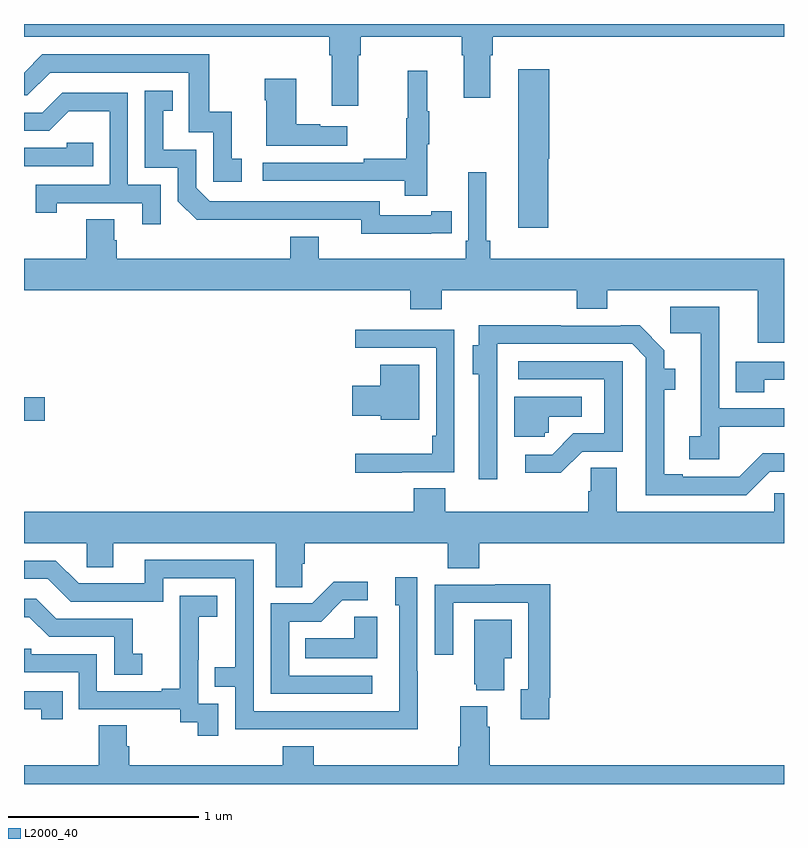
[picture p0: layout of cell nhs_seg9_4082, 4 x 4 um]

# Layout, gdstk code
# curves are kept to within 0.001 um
import gdstk
lib = gdstk.Library(unit=1e-6, precision=1e-09)
def R(c, l, rs):  # rectangles x0, y0, x1, y1
    for r in rs: c.add(gdstk.rectangle(r[:2], r[2:], *l))
def P(c, l, *ps):  # polygons
    for p in ps: c.add(gdstk.Polygon(p, *l))
L2000_40 = (2000, 40)

nhs_seg9_4082 = lib.new_cell('nhs_seg9_4082')
R(nhs_seg9_4082, L2000_40, [(345,1182.413,345.109,1182.535)])
P(nhs_seg9_4082, L2000_40, [(346.759,1184.336),(346.772,1184.336),(346.772,1184.432),(347.303,1184.432),(347.303,1184.336),(347.315,1184.336),(347.315,1184.112),(347.455,1184.112),(347.455,1184.336),(347.468,1184.336),(347.468,1184.432),(349,1184.432),(349,1184.5),(345,1184.5),(345,1184.432),(346.607,1184.432),(346.607,1184.336),(346.619,1184.336),(346.619,1184.07),(346.759,1184.07)],
  [(346.147,1183.791),(346.094,1183.791),(346.094,1184.038),(345.976,1184.038),(345.976,1184.34),(345.096,1184.34),(345,1184.244),(345,1184.124),(345.018,1184.124),(345.138,1184.244),(345.867,1184.244),(345.867,1183.929),(345.996,1183.929),(345.996,1183.671),(346.147,1183.671)],
  [(347.759,1183.791),(347.764,1183.791),(347.764,1184.263),(347.6,1184.263),(347.6,1183.428),(347.759,1183.428)],
  [(347.123,1183.867),(347.134,1183.867),(347.134,1184.041),(347.123,1184.041),(347.123,1184.254),(347.02,1184.254),(347.02,1184.004),(347.013,1184.004),(347.013,1183.79),(346.789,1183.79),(346.789,1183.77),(346.257,1183.77),(346.257,1183.674),(347.005,1183.674),(347.005,1183.596),(347.123,1183.596)],
  [(346.702,1183.963),(346.559,1183.963),(346.559,1183.973),(346.432,1183.973),(346.432,1184.212),(346.267,1184.212),(346.267,1184.099),(346.274,1184.099),(346.274,1183.859),(346.702,1183.859)],
  [(347.144,1183.398),(347.252,1183.398),(347.252,1183.514),(347.144,1183.514),(347.144,1183.494),(346.872,1183.494),(346.872,1183.566),(345.978,1183.566),(345.906,1183.638),(345.906,1183.839),(345.733,1183.839),(345.733,1184.043),(345.782,1184.043),(345.782,1184.149),(345.636,1184.149),(345.636,1183.743),(345.81,1183.743),(345.81,1183.566),(345.908,1183.469),(346.776,1183.47),(346.776,1183.397)],
  [(345.72,1183.653),(345.546,1183.653),(345.546,1184.139),(345.2,1184.139),(345.095,1184.034),(345,1184.034),(345,1183.938),(345.132,1183.938),(345.236,1184.042),(345.45,1184.042),(345.45,1183.653),(345.061,1183.653),(345.061,1183.506),(345.172,1183.506),(345.172,1183.557),(345.623,1183.557),(345.623,1183.446),(345.72,1183.446)],
  [(345.365,1183.875),(345.225,1183.875),(345.225,1183.848),(345,1183.848),(345,1183.752),(345.365,1183.752)],
  [(347.453,1183.36),(347.434,1183.36),(347.434,1183.72),(347.337,1183.72),(347.337,1183.36),(347.324,1183.36),(347.324,1183.264),(346.552,1183.264),(346.552,1183.381),(346.4,1183.381),(346.4,1183.264),(345.488,1183.264),(345.488,1183.362),(345.475,1183.362),(345.475,1183.472),(345.328,1183.472),(345.328,1183.264),(345,1183.264),(345,1183.1),(347.033,1183.1),(347.033,1182.998),(347.198,1182.998),(347.198,1183.1),(347.909,1183.1),(347.909,1183.001),(348.069,1183.001),(348.069,1183.1),(348.863,1183.1),(348.863,1182.822),(349,1182.822),(349,1183.264),(347.453,1183.264)],
  [(348.66,1182.38),(349,1182.38),(349,1182.477),(348.66,1182.477),(348.66,1183.012),(348.402,1183.012),(348.402,1182.873),(348.563,1182.873),(348.563,1182.33),(348.501,1182.33),(348.501,1182.21),(348.66,1182.21)],
  [(348.924,1182.144),(349,1182.144),(349,1182.241),(348.888,1182.241),(348.764,1182.117),(348.466,1182.117),(348.466,1182.13),(348.37,1182.13),(348.37,1182.576),(348.427,1182.576),(348.427,1182.686),(348.371,1182.686),(348.371,1182.784),(348.241,1182.914),(348.14,1182.914),(348.14,1182.912),(347.825,1182.912),(347.825,1182.914),(347.394,1182.914),(347.394,1182.808),(347.363,1182.808),(347.363,1182.656),(347.394,1182.656),(347.394,1182.105),(347.49,1182.105),(347.49,1182.816),(348.201,1182.816),(348.273,1182.744),(348.273,1182.021),(348.801,1182.021)],
  [(346.987,1182.141),(347.265,1182.141),(347.265,1182.891),(346.743,1182.891),(346.743,1182.795),(347.169,1182.795),(347.169,1182.334),(347.149,1182.334),(347.149,1182.238),(346.743,1182.238),(346.743,1182.137),(346.987,1182.137)],
  [(347.937,1182.249),(348.15,1182.249),(348.15,1182.726),(347.601,1182.726),(347.601,1182.63),(348.054,1182.63),(348.054,1182.345),(347.892,1182.345),(347.781,1182.234),(347.637,1182.234),(347.637,1182.137),(347.824,1182.137)],
  [(348.897,1182.627),(349,1182.627),(349,1182.723),(348.745,1182.723),(348.745,1182.562),(348.897,1182.562)],
  [(347.08,1182.706),(346.874,1182.706),(346.874,1182.595),(346.728,1182.595),(346.728,1182.437),(346.878,1182.437),(346.878,1182.416),(347.08,1182.416)],
  [(347.742,1182.348),(347.763,1182.348),(347.763,1182.434),(347.935,1182.434),(347.935,1182.538),(347.579,1182.538),(347.579,1182.327),(347.742,1182.327)],
  [(346.464,1181.659),(346.478,1181.659),(346.478,1181.768),(347.231,1181.768),(347.231,1181.635),(347.396,1181.635),(347.396,1181.768),(349,1181.768),(349,1182.03),(348.948,1182.03),(348.948,1181.932),(348.121,1181.932),(348.121,1182.164),(347.982,1182.164),(347.982,1182.041),(347.969,1182.041),(347.969,1181.932),(347.216,1181.932),(347.216,1182.056),(347.051,1182.056),(347.051,1181.932),(345,1181.932),(345,1181.768),(345.33,1181.768),(345.33,1181.641),(345.469,1181.641),(345.469,1181.768),(346.325,1181.768),(346.325,1181.536),(346.464,1181.536)],
  [(347.073,1181.093),(347.07,1181.093),(347.07,1181.587),(346.955,1181.587),(346.955,1181.442),(346.974,1181.442),(346.974,1180.884),(346.209,1180.884),(346.209,1181.679),(345.635,1181.679),(345.635,1181.556),(345.288,1181.556),(345.168,1181.676),(345,1181.676),(345,1181.58),(345.126,1181.58),(345.246,1181.46),(345.732,1181.46),(345.732,1181.583),(346.113,1181.583),(346.113,1181.114),(346.003,1181.114),(346.003,1181.013),(346.113,1181.013),(346.113,1180.788),(347.073,1180.787)],
  [(346.834,1181.07),(346.395,1181.07),(346.395,1181.355),(346.564,1181.355),(346.675,1181.466),(346.81,1181.466),(346.81,1181.564),(346.631,1181.564),(346.518,1181.451),(346.299,1181.451),(346.299,1180.974),(346.834,1180.974)],
  [(347.764,1180.954),(347.771,1180.954),(347.771,1181.552),(347.479,1181.552),(347.479,1181.55),(347.163,1181.55),(347.163,1181.181),(347.259,1181.181),(347.259,1181.454),(347.655,1181.454),(347.655,1180.998),(347.615,1180.998),(347.615,1180.842),(347.764,1180.842)],
  [(346.023,1180.923),(345.918,1180.923),(345.918,1181.153),(345.92,1181.153),(345.92,1181.381),(346.018,1181.381),(346.018,1181.491),(345.82,1181.491),(345.82,1181.285),(345.821,1181.285),(345.821,1181.002),(345.725,1181.002),(345.725,1180.989),(345.384,1180.989),(345.384,1181.184),(345.039,1181.184),(345.039,1181.211),(345,1181.211),(345,1181.088),(345.288,1181.088),(345.288,1180.893),(345.822,1180.893),(345.822,1180.825),(345.915,1180.825),(345.915,1180.755),(346.023,1180.755)],
  [(345.622,1181.185),(345.573,1181.185),(345.573,1181.37),(345.169,1181.37),(345.064,1181.475),(345,1181.475),(345,1181.378),(345.028,1181.378),(345.132,1181.274),(345.474,1181.274),(345.474,1181.076),(345.622,1181.076)],
  [(346.858,1181.381),(346.737,1181.381),(346.737,1181.266),(346.48,1181.266),(346.48,1181.162),(346.858,1181.162)],
  [(347.527,1181.162),(347.566,1181.162),(347.566,1181.365),(347.369,1181.365),(347.369,1181.025),(347.381,1181.025),(347.381,1180.994),(347.527,1180.994)],
  [(345.203,1180.989),(345,1180.989),(345,1180.893),(345.092,1180.893),(345.092,1180.842),(345.203,1180.842)],
  [(349,1180.6),(347.45,1180.6),(347.45,1180.802),(347.437,1180.802),(347.437,1180.909),(347.297,1180.909),(347.297,1180.696),(347.285,1180.696),(347.285,1180.6),(346.526,1180.6),(346.526,1180.699),(346.361,1180.699),(346.361,1180.6),(345.554,1180.6),(345.554,1180.698),(345.541,1180.698),(345.541,1180.808),(345.394,1180.808),(345.394,1180.6),(345,1180.6),(345,1180.5),(349,1180.5)])

lib.write_gds('nhs_seg9_4082.gds')
